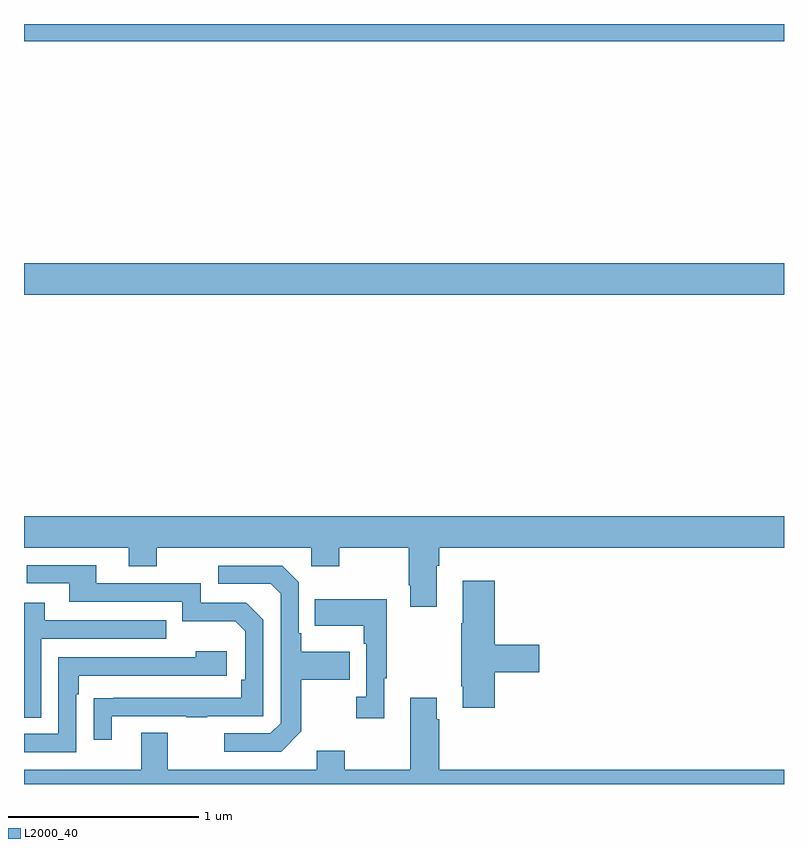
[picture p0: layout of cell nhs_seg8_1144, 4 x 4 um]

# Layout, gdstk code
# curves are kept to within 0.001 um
import gdstk
lib = gdstk.Library(unit=1e-6, precision=1e-09)
def R(c, l, rs):  # rectangles x0, y0, x1, y1
    for r in rs: c.add(gdstk.rectangle(r[:2], r[2:], *l))
def P(c, l, *ps):  # polygons
    for p in ps: c.add(gdstk.Polygon(p, *l))
L2000_40 = (2000, 40)

nhs_seg8_1144 = lib.new_cell('nhs_seg8_1144')
R(nhs_seg8_1144, L2000_40, [(183,1140.476,187,1140.64), (183,1141.808,187,1141.9)])
P(nhs_seg8_1144, L2000_40, [(185.173,1139.048),(185.186,1139.048),(185.186,1139.144),(187,1139.144),(187,1139.308),(183,1139.308),(183,1139.144),(183.551,1139.144),(183.551,1139.045),(183.699,1139.045),(183.699,1139.144),(184.512,1139.144),(184.512,1139.045),(184.659,1139.045),(184.659,1139.144),(185.026,1139.144),(185.026,1138.945),(185.033,1138.945),(185.033,1138.833),(185.173,1138.833)],
  [(183.463,1138.257),(183.853,1138.257),(183.853,1138.252),(183.965,1138.252),(183.965,1138.257),(184.26,1138.257),(184.26,1138.764),(184.17,1138.854),(183.93,1138.854),(183.93,1138.956),(183.379,1138.956),(183.379,1139.052),(183.015,1139.052),(183.015,1138.956),(183.239,1138.956),(183.239,1138.86),(183.834,1138.86),(183.834,1138.757),(184.111,1138.757),(184.164,1138.704),(184.164,1138.45),(184.144,1138.45),(184.144,1138.353),(183.367,1138.352),(183.367,1138.134),(183.463,1138.134)],
  [(184.459,1138.177),(184.459,1138.45),(184.715,1138.45),(184.715,1138.597),(184.459,1138.597),(184.459,1138.693),(184.446,1138.693),(184.446,1138.962),(184.359,1139.049),(184.023,1139.049),(184.023,1138.953),(184.299,1138.953),(184.35,1138.902),(184.35,1138.221),(184.296,1138.167),(184.053,1138.167),(184.053,1138.071),(184.353,1138.071)],
  [(185.477,1138.487),(185.713,1138.487),(185.713,1138.634),(185.477,1138.634),(185.477,1138.969),(185.309,1138.969),(185.309,1138.745),(185.302,1138.745),(185.302,1138.414),(185.309,1138.414),(185.309,1138.302),(185.477,1138.302)],
  [(184.897,1138.457),(184.909,1138.457),(184.909,1138.873),(184.531,1138.873),(184.531,1138.733),(184.788,1138.733),(184.788,1138.637),(184.8,1138.637),(184.8,1138.358),(184.749,1138.358),(184.749,1138.245),(184.897,1138.245)],
  [(183.09,1138.665),(183.749,1138.665),(183.749,1138.761),(183.109,1138.761),(183.109,1138.855),(183,1138.855),(183,1138.249),(183.09,1138.249)],
  [(183.276,1138.373),(183.289,1138.373),(183.289,1138.47),(184.066,1138.47),(184.066,1138.6),(183.905,1138.6),(183.905,1138.566),(183.18,1138.566),(183.18,1138.164),(183,1138.164),(183,1138.068),(183.276,1138.068)],
  [(187,1137.976),(185.186,1137.976),(185.186,1138.241),(185.173,1138.241),(185.173,1138.354),(185.033,1138.354),(185.033,1137.976),(184.689,1137.976),(184.689,1138.075),(184.541,1138.075),(184.541,1137.976),(183.757,1137.976),(183.757,1138.171),(183.617,1138.171),(183.617,1137.976),(183,1137.976),(183,1137.9),(187,1137.9)])

lib.write_gds('nhs_seg8_1144.gds')
